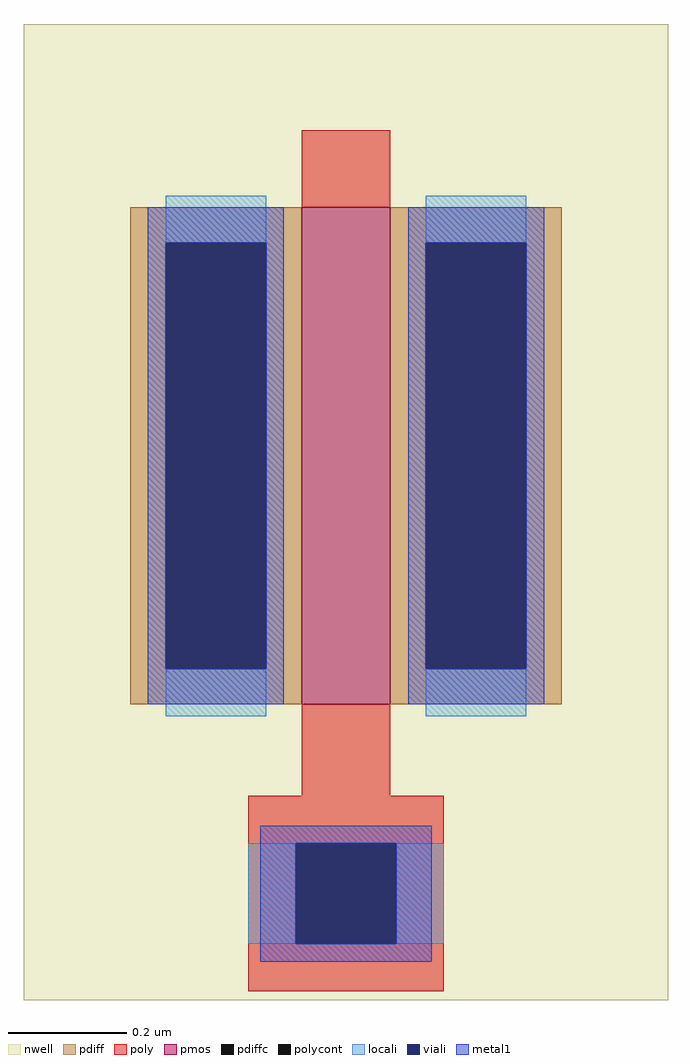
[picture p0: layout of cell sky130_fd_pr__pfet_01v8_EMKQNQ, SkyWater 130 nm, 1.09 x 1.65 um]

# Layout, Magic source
magic
tech sky130A
magscale 1 2
<< nwell >>
rect -109 -148 109 182
<< pmos >>
rect -15 -48 15 120
<< pdiff >>
rect -73 108 -15 120
rect -73 -36 -61 108
rect -27 -36 -15 108
rect -73 -48 -15 -36
rect 15 108 73 120
rect 15 -36 27 108
rect 61 -36 73 108
rect 15 -48 73 -36
<< pdiffc >>
rect -61 -36 -27 108
rect 27 -36 61 108
<< poly >>
rect -15 120 15 146
rect -15 -79 15 -48
rect -33 -95 33 -79
rect -33 -129 -17 -95
rect 17 -129 33 -95
rect -33 -145 33 -129
<< polycont >>
rect -17 -129 17 -95
<< locali >>
rect -61 108 -27 124
rect -61 -52 -27 -36
rect 27 108 61 124
rect 27 -52 61 -36
rect -33 -129 -17 -95
rect 17 -129 33 -95
<< viali >>
rect -61 -36 -27 108
rect 27 -36 61 108
rect -17 -129 17 -95
<< metal1 >>
rect -67 108 -21 120
rect -67 -36 -61 108
rect -27 -36 -21 108
rect -67 -48 -21 -36
rect 21 108 67 120
rect 21 -36 27 108
rect 61 -36 67 108
rect 21 -48 67 -36
rect -29 -95 29 -89
rect -29 -129 -17 -95
rect 17 -129 29 -95
rect -29 -135 29 -129
<< properties >>
string gencell sky130_fd_pr__pfet_01v8
string parameters w 0.84 l 0.15 m 1 nf 1 diffcov 100 polycov 100 guard 0 glc 0 grc 0 gtc 0 gbc 0 tbcov 100 rlcov 100 topc 0 botc 1 poverlap 0 doverlap 1 lmin 0.15 wmin 0.42 compatible {sky130_fd_pr__pfet_01v8  sky130_fd_pr__pfet_01v8_lvt sky130_fd_pr__pfet_01v8_hvt  sky130_fd_pr__pfet_g5v0d10v5} full_metal 0 viagl 0 viagr 0 viagt 0 viagb 0 viagate 100 viadrn 100 viasrc 100
string library sky130
<< end >>
